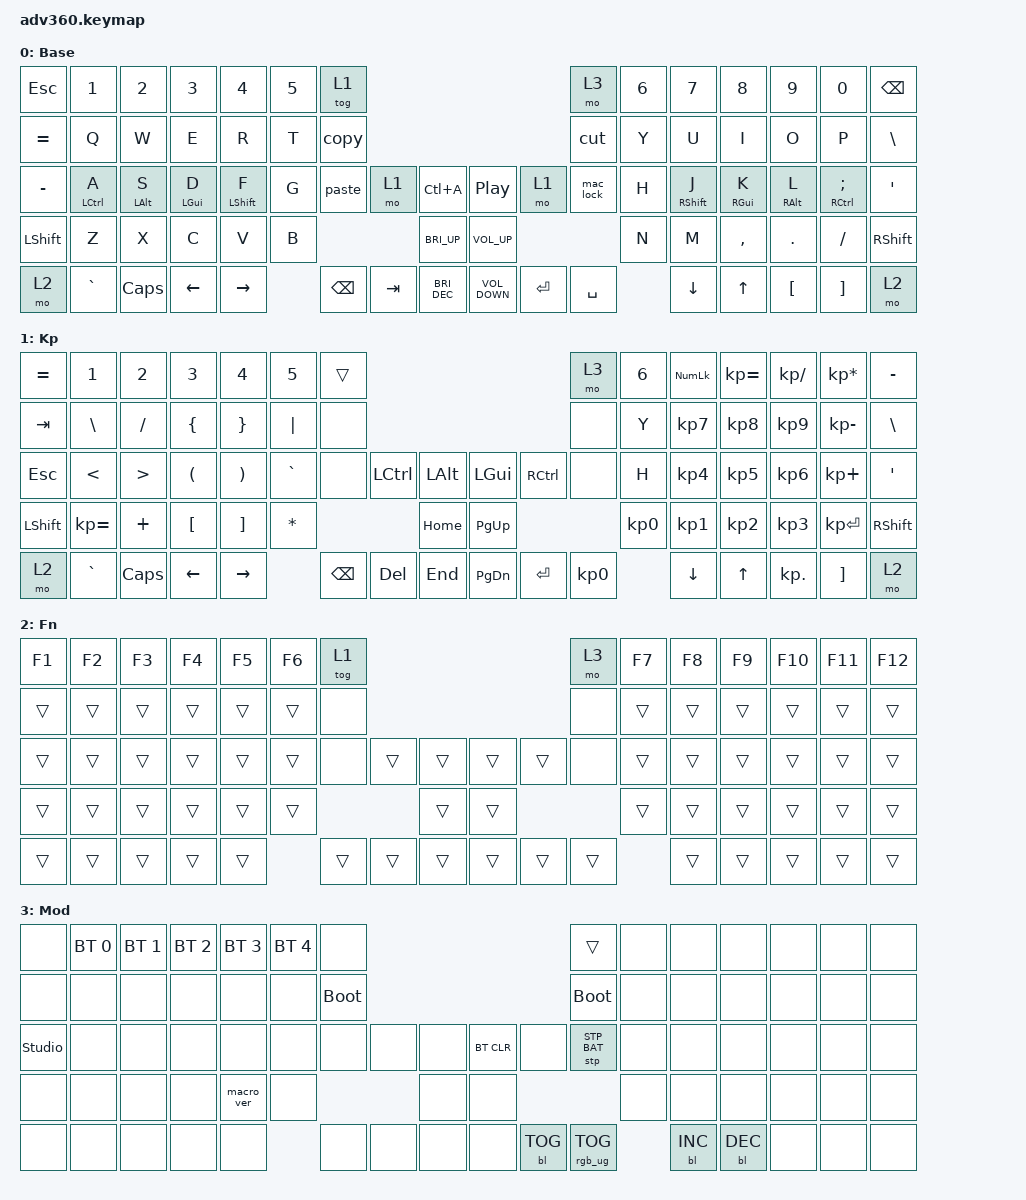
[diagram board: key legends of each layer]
#include <dt-bindings/zmk/stp.h>
#include <behaviors.dtsi>
#include <dt-bindings/zmk/backlight.h>
#include <dt-bindings/zmk/bt.h>
#include <dt-bindings/zmk/keys.h>
#include <dt-bindings/zmk/rgb.h>

/ {
    macros {
        copy: copy {
            compatible = "zmk,behavior-macro";
            #binding-cells = <0>;
            bindings = <&kp LG(C)>;
        };
        cut: cut {
            compatible = "zmk,behavior-macro";
            #binding-cells = <0>;
            bindings = <&kp LG(X)>;
        };
        paste: paste {
            compatible = "zmk,behavior-macro";
            #binding-cells = <0>;
            bindings = <&kp LG(V)>;
        };
        mac_lock: mac_lock {
            compatible = "zmk,behavior-macro";
            #binding-cells = <0>;
            bindings = <&kp LG(LC(Q))>;
        };
    };

    behaviors {
        #include "macros.dtsi"
      #include "version.dtsi"

        hm: homerow_mods {
            compatible = "zmk,behavior-hold-tap";
            label = "HOMEROW_MODS";
            #binding-cells = <2>;
            tapping-term-ms = <280>;
            flavor = "balanced";
            bindings = <&kp>, <&kp>;

            quick-tap-ms = <175>;
            require-prior-idle-ms = <150>;
            hold-trigger-on-release;
        };
    };

    keymap {
        compatible = "zmk,keymap";

        default_layer {
            display-name = "Base";
            bindings = <
&kp ESC    &kp N1       &kp N2          &kp N3          &kp N4            &kp N5  &tog 1                                                                    &mo 3          &kp N6  &kp N7             &kp N8           &kp N9           &kp N0          &kp BACKSPACE
&kp EQUAL  &kp Q        &kp W           &kp E           &kp R             &kp T   &copy                                                                     &cut           &kp Y   &kp U              &kp I            &kp O            &kp P           &kp BSLH
&kp MINUS  &hm LCTRL A  &hm LEFT_ALT S  &hm LEFT_GUI D  &hm LEFT_SHIFT F  &kp G   &paste          &mo 1    &kp LC(A)          &kp C_PLAY_PAUSE   &mo 1      &mac_lock      &kp H   &hm RIGHT_SHIFT J  &hm RIGHT_GUI K  &hm RIGHT_ALT L  &hm RCTRL SEMI  &kp SQT
&kp LSHFT  &kp Z        &kp X           &kp C           &kp V             &kp B                            &kp C_BRI_UP       &kp C_VOL_UP                                 &kp N   &kp M              &kp COMMA        &kp DOT          &kp FSLH        &kp RSHFT
&mo 2      &kp GRAVE    &kp CAPS        &kp LEFT        &kp RIGHT                 &kp BSPC        &kp TAB  &kp C_BRI_DEC      &kp C_VOLUME_DOWN  &kp ENTER  &kp SPACE              &kp DOWN           &kp UP           &kp LBKT         &kp RBKT        &mo 2
            >;
        };

        keypad {
            display-name = "Kp";
            bindings = <
&kp EQUAL  &kp N1         &kp N2            &kp N3                &kp N4                 &kp N5        &trans                                                   &mo 3      &kp N6     &kp KP_NUM  &kp KP_EQUAL  &kp KP_DIVIDE  &kp KP_MULTIPLY  &kp MINUS
&kp TAB    &kp BACKSLASH  &kp SLASH         &kp LEFT_BRACE        &kp RIGHT_BRACE        &kp PIPE      &none                                                    &none      &kp Y      &kp KP_N7   &kp KP_N8     &kp KP_N9      &kp KP_MINUS     &kp BSLH
&kp ESC    &kp LESS_THAN  &kp GREATER_THAN  &kp LEFT_PARENTHESIS  &kp RIGHT_PARENTHESIS  &kp GRAVE     &none     &kp LCTRL  &kp LALT      &kp LGUI   &kp RCTRL  &none      &kp H      &kp KP_N4   &kp KP_N5     &kp KP_N6      &kp KP_PLUS      &kp SQT
&kp LSHFT  &kp KP_EQUAL   &kp PLUS          &kp LEFT_BRACKET      &kp RIGHT_BRACKET      &kp ASTERISK                       &kp HOME      &kp PG_UP                        &kp KP_N0  &kp KP_N1   &kp KP_N2     &kp KP_N3      &kp KP_ENTER     &kp RSHFT
&mo 2      &kp GRAVE      &kp CAPS          &kp LEFT              &kp RIGHT                            &kp BSPC  &kp DEL    &kp END       &kp PG_DN  &kp ENTER  &kp KP_N0             &kp DOWN    &kp UP        &kp KP_DOT     &kp RBKT         &mo 2
            >;
        };

        fn {
            display-name = "Fn";
            bindings = <
&kp F1  &kp F2  &kp F3  &kp F4  &kp F5  &kp F6  &tog 1                                      &mo 3   &kp F7  &kp F8  &kp F9  &kp F10  &kp F11  &kp F12
&trans  &trans  &trans  &trans  &trans  &trans  &none                                       &none   &trans  &trans  &trans  &trans   &trans   &trans
&trans  &trans  &trans  &trans  &trans  &trans  &none   &trans  &trans      &trans  &trans  &none   &trans  &trans  &trans  &trans   &trans   &trans
&trans  &trans  &trans  &trans  &trans  &trans                  &trans      &trans                  &trans  &trans  &trans  &trans   &trans   &trans
&trans  &trans  &trans  &trans  &trans          &trans  &trans  &trans      &trans  &trans  &trans          &trans  &trans  &trans   &trans   &trans
            >;
        };

        mod {
            display-name = "Mod";
            bindings = <
&none           &bt BT_SEL 0  &bt BT_SEL 1  &bt BT_SEL 2  &bt BT_SEL 3  &bt BT_SEL 4  &none                                                  &trans           &none  &none       &none       &none  &none  &none
&none           &none         &none         &none         &none         &none         &bootloader                                            &bootloader      &none  &none       &none       &none  &none  &none
&studio_unlock  &none         &none         &none         &none         &none         &none        &none  &none      &bt BT_CLR  &none       &stp STP_BAT     &none  &none       &none       &none  &none  &none
&none           &none         &none         &none         &macro_ver    &none                             &none      &none                                    &none  &none       &none       &none  &none  &none
&none           &none         &none         &none         &none                       &none        &none  &none      &none       &bl BL_TOG  &rgb_ug RGB_TOG         &bl BL_INC  &bl BL_DEC  &none  &none  &none
            >;
        };

        extra1 {
            display-name = "Red";
            status = "reserved";
        };

        extra2 {
            display-name = "Purple";
            status = "reserved";
        };

        extra3 {
            display-name = "Cyan";
            status = "reserved";
        };

        extra4 {
            display-name = "Yellow";
            status = "reserved";
        };
    };
};
